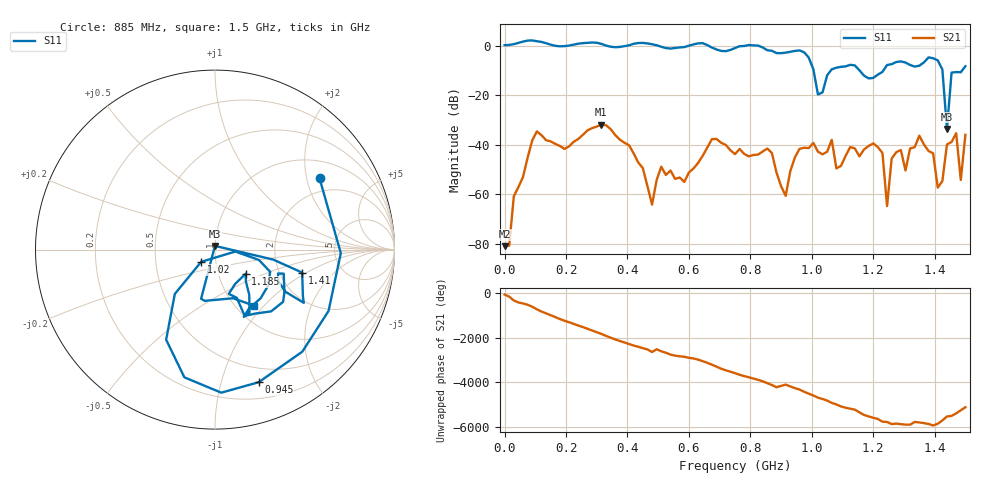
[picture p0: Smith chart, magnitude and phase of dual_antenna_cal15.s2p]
# HZ S RI R 50
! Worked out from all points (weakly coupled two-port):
!   101 points, 30 kHz to 1.5 GHz, reference 50 ohm
!   highest |S21| = -31.95 dB at 315 MHz (marker M1); lowest = -81.0 dB at 30 kHz (marker M2)
!   lowest |S11| = -33.7 dB at 1.44 GHz (marker M3), VSWR 1.04, Z = 49.9 + j2.06 ohm
!   |S11| at or under -10 dB: 1.006 GHz to 1.062 GHz (56.78 MHz wide, 5.49 % of centre); 1.155 GHz to 1.233 GHz (78.28 MHz wide, 6.56 % of centre); 1.425 GHz to 1.49 GHz (64.57 MHz wide, 4.43 % of centre)
!   S12 and S22 are empty: the file has one direction only
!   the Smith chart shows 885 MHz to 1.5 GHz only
!   S11 on the Smith chart (normalised r, x): 885 MHz: 1.52, +2.39; 945 MHz: 0.35, -1.32; 1.02 GHz: 0.85, -0.12; 1.185 GHz: 1.35, -0.38; 1.41 GHz: 2.66, -0.91; 1.5 GHz: 1.21, -0.89
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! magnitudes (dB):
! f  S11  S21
! 30 kHz  0.2  -81.0
! 105 MHz  1.7  -34.7
! 255 MHz  1.0  -36.0
! 315 MHz  0.7  -31.9
! 480 MHz  0.5  -64.2
! 510 MHz  -0.5  -48.9
! 750 MHz  -1.0  -43.8
! 885 MHz  -3.0  -51.2
! 915 MHz  -2.9  -60.7
! 945 MHz  -2.2  -45.1
! 1.005 GHz  -9.5  -39.3
! 1.02 GHz  -19.8  -42.8
! 1.185 GHz  -13.3  -40.6
! 1.23 GHz  -10.6  -43.4
! 1.245 GHz  -7.9  -64.8
! 1.26 GHz  -7.5  -45.6
! 1.35 GHz  -8.1  -36.4
! 1.41 GHz  -6.0  -57.4
! 1.44 GHz  -33.7  -39.9
! 1.455 GHz  -10.9  -38.9
! 1.485 GHz  -10.8  -54.3
! 1.5 GHz  -8.3  -36.0
